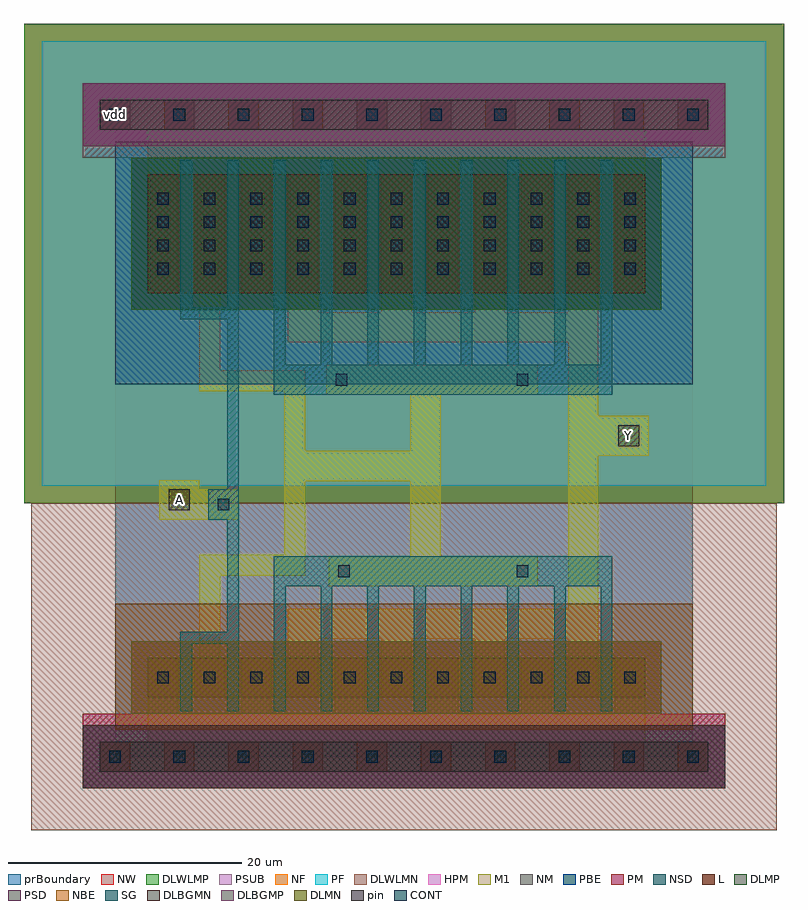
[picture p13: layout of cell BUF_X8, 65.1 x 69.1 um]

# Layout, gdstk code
import gdstk
lib = gdstk.Library(unit=1e-6, precision=1e-09)
def R(c, l, rs):  # rectangles x0, y0, x1, y1
    for r in rs: c.add(gdstk.rectangle(r[:2], r[2:], *l))
def A(c, l, x, y, w, h, nx, ny, dx, dy):  # array of equal rectangles
    R(c, l, [(x+i*dx, y+j*dy, x+i*dx+w, y+j*dy+h) for i in range(nx) for j in range(ny)])
def P(c, l, *ps):  # polygons
    for p in ps: c.add(gdstk.Polygon(p, *l))
L = (3, 0)
NM = (7, 0)
SG = (8, 0)
PSD = (9, 0)
CONT = (11, 0)
M1 = (13, 0)
NF = (25, 0)
PF = (26, 0)
NSD = (28, 0)
HPM = (33, 0)
PM = (35, 0)
NW = (36, 0)
pin = (48, 1)
PSUB = (140, 0)
PBE = (146, 0)
NBE = (147, 0)
DLWLMP = (150, 0)
DLWLMN = (151, 0)
DLMP = (157, 0)
DLMN = (158, 0)
DLBGMP = (177, 0)
DLBGMN = (178, 0)
prBoundary = (235, 0)

buf_x8 = lib.new_cell('BUF_X8')
A(buf_x8, L, -1.3, -1.3, 2.6, 2.6, 10, 2, 5.5, 55)
R(buf_x8, L, [(2.8,5.1,45.4,8.5), (2.8,39.7,45.4,49.9)])
R(buf_x8, NM, [(-2.75,-2.7,52.25,2.7)])
P(buf_x8, NM, [(1.4,38.3),(1.4,51.3),(-2.75,51.3),(-2.75,57.7),(52.25,57.7),(52.25,51.3),(46.8,51.3),(46.8,38.3)])
P(buf_x8, SG, [(13.6,3.9),(13.6,17.2),(42.6,17.2),(42.6,3.9),(41.6,3.9),(41.6,14.6),(38.6,14.6),(38.6,3.9),(37.6,3.9),(37.6,14.6),(34.6,14.6),(34.6,3.9),(33.6,3.9),(33.6,14.6),(30.6,14.6),(30.6,3.9),(29.6,3.9),(29.6,14.6),(26.6,14.6),(26.6,3.9),(25.6,3.9),(25.6,14.6),(22.6,14.6),(22.6,3.9),(21.6,3.9),(21.6,14.6),(18.6,14.6),(18.6,3.9),(17.6,3.9),(17.6,14.6),(14.6,14.6),(14.6,3.9)],
  [(5.6,3.9),(5.6,10.7),(9.6,10.7),(9.6,20.3),(8,20.3),(8,22.9),(9.6,22.9),(9.6,37.5),(5.6,37.5),(5.6,51.1),(6.6,51.1),(6.6,38.5),(9.6,38.5),(9.6,51.1),(10.6,51.1),(10.6,3.9),(9.6,3.9),(9.6,9.7),(6.6,9.7),(6.6,3.9)],
  [(13.6,31),(13.6,51.1),(14.6,51.1),(14.6,33.6),(17.6,33.6),(17.6,51.1),(18.6,51.1),(18.6,33.6),(21.6,33.6),(21.6,51.1),(22.6,51.1),(22.6,33.6),(25.6,33.6),(25.6,51.1),(26.6,51.1),(26.6,33.6),(29.6,33.6),(29.6,51.1),(30.6,51.1),(30.6,33.6),(33.6,33.6),(33.6,51.1),(34.6,51.1),(34.6,33.6),(37.6,33.6),(37.6,51.1),(38.6,51.1),(38.6,33.6),(41.6,33.6),(41.6,51.1),(42.6,51.1),(42.6,31)])
R(buf_x8, PSD, [(1.4,3.7,46.8,9.9), (-2.75,52.3,52.25,57.7)])
A(buf_x8, CONT, -0.5, -0.5, 1, 1, 10, 2, 5.5, 55)
A(buf_x8, CONT, 3.6, 6.3, 1, 1, 3, 2, 4, 35)
A(buf_x8, CONT, 11.6, 6.3, 1, 1, 9, 2, 4, 35)
A(buf_x8, CONT, 3.6, 43.3, 1, 1, 3, 3, 4, 2)
A(buf_x8, CONT, 11.6, 43.3, 1, 1, 9, 3, 4, 2)
R(buf_x8, CONT, [(19.1,15.4,20.1,16.4), (34.4,15.4,35.4,16.4), (8.8,21.1,9.8,22.1), (18.9,31.8,19.9,32.8), (34.4,31.8,35.4,32.8)])
P(buf_x8, M1, [(-1.3,-1.3),(-1.3,1.3),(2.8,1.3),(2.8,8.5),(5.4,8.5),(5.4,3.7),(10.8,3.7),(10.8,8.5),(13.4,8.5),(13.4,3.7),(18.8,3.7),(18.8,8.5),(21.4,8.5),(21.4,3.7),(26.8,3.7),(26.8,8.5),(29.4,8.5),(29.4,3.7),(34.8,3.7),(34.8,8.5),(37.4,8.5),(37.4,3.7),(42.8,3.7),(42.8,8.5),(45.4,8.5),(45.4,1.3),(50.8,1.3),(50.8,-1.3)],
  [(3.8,20.3),(3.8,23.7),(7.2,23.7),(7.2,22.9),(10.6,22.9),(10.6,20.3)],
  [(6.8,5.1),(6.8,8.5),(7.2,8.5),(7.2,17.3),(14.5,17.3),(14.5,31.3),(7.2,31.3),(7.2,39.7),(6.8,39.7),(6.8,49.9),(9.4,49.9),(9.4,39.7),(9,39.7),(9,33.1),(16.3,33.1),(16.3,26.2),(25.3,26.2),(25.3,31),(18.1,31),(18.1,33.6),(36.2,33.6),(36.2,31),(27.9,31),(27.9,17.2),(36.2,17.2),(36.2,14.6),(18.3,14.6),(18.3,17.2),(25.3,17.2),(25.3,23.6),(16.3,23.6),(16.3,15.5),(9,15.5),(9,8.5),(9.4,8.5),(9.4,5.1)],
  [(14.8,5.1),(14.8,12.7),(38.8,12.7),(38.8,35.5),(14.8,35.5),(14.8,49.9),(17.4,49.9),(17.4,38.1),(22.8,38.1),(22.8,49.9),(25.4,49.9),(25.4,38.1),(30.8,38.1),(30.8,49.9),(33.4,49.9),(33.4,38.1),(38.8,38.1),(38.8,49.9),(41.4,49.9),(41.4,29.2),(45.7,29.2),(45.7,25.8),(41.4,25.8),(41.4,5.1),(38.8,5.1),(38.8,10.1),(33.4,10.1),(33.4,5.1),(30.8,5.1),(30.8,10.1),(25.4,10.1),(25.4,5.1),(22.8,5.1),(22.8,10.1),(17.4,10.1),(17.4,5.1)],
  [(2.8,39.7),(2.8,53.7),(-1.3,53.7),(-1.3,56.3),(50.8,56.3),(50.8,53.7),(45.4,53.7),(45.4,39.7),(42.8,39.7),(42.8,51.3),(37.4,51.3),(37.4,39.7),(34.8,39.7),(34.8,51.3),(29.4,51.3),(29.4,39.7),(26.8,39.7),(26.8,51.3),(21.4,51.3),(21.4,39.7),(18.8,39.7),(18.8,51.3),(13.4,51.3),(13.4,39.7),(10.8,39.7),(10.8,51.3),(5.4,51.3),(5.4,39.7)])
R(buf_x8, NF, [(-6.3,23.2,55.8,61.3)])
R(buf_x8, PF, [(-6.3,23.2,55.8,61.3)])
R(buf_x8, NSD, [(-2.75,-2.7,52.25,2.7), (1.4,38.3,46.8,51.3)])
P(buf_x8, HPM, [(-2.75,-2.7),(-2.75,3.7),(1.4,3.7),(1.4,9.9),(46.8,9.9),(46.8,3.7),(52.25,3.7),(52.25,-2.7)],
  [(1.4,38.3),(1.4,51.3),(-2.75,51.3),(-2.75,57.7),(52.25,57.7),(52.25,51.3),(46.8,51.3),(46.8,38.3)])
R(buf_x8, PM, [(-2.75,52.3,52.25,57.7)])
P(buf_x8, PM, [(-2.75,-2.7),(-2.75,3.7),(1.4,3.7),(1.4,9.9),(46.8,9.9),(46.8,3.7),(52.25,3.7),(52.25,-2.7)])
R(buf_x8, NW, [(-7.8,21.7,57.3,62.8)])
R(buf_x8, pin, [(-1.3,-1.3,50.8,1.3), (4.6,21.1,6.4,22.9), (43.1,26.6,44.9,28.4), (-1.3,53.7,50.8,56.3)])
R(buf_x8, PSUB, [(-6.3,23.2,55.8,61.3)])
R(buf_x8, PBE, [(0,31.9,49.5,52.7)])
R(buf_x8, NBE, [(0,2.3,49.5,13.1)])
R(buf_x8, DLWLMP, [(-7.8,21.7,57.3,62.8)])
R(buf_x8, DLWLMN, [(-7.2,-6.3,56.7,21.7)])
R(buf_x8, DLMP, [(1.4,38.3,46.8,51.3)])
R(buf_x8, DLMN, [(1.4,3.7,46.8,9.9)])
R(buf_x8, DLBGMP, [(-2.75,52.3,52.25,57.7)])
R(buf_x8, DLBGMN, [(-2.75,-2.7,52.25,2.7)])
R(buf_x8, prBoundary, [(0,0,49.5,55)])
buf_x8.add(gdstk.Label('Y', (44,27.5), layer=48, texttype=0))
buf_x8.add(gdstk.Label('A', (5.5,22), layer=48, texttype=0))
buf_x8.add(gdstk.Label('vdd', (0,55), layer=48, texttype=0))
buf_x8.add(gdstk.Label('vdd', (0,55), layer=48, texttype=0))

lib.write_gds('BUF_X8.gds')
